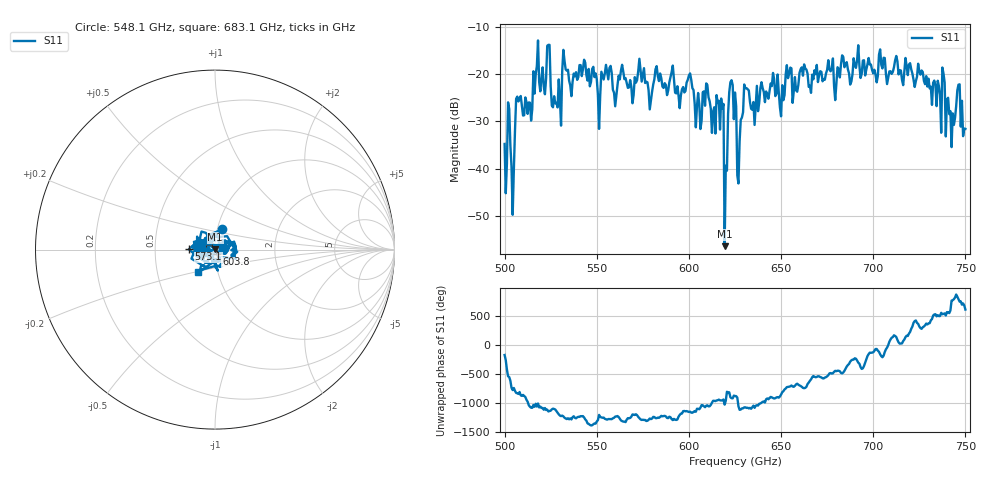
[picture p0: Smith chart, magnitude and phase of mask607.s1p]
!Created with skrf (http://scikit-rf.org).
# GHz S MA R 50.0
!freq magS11 angS11
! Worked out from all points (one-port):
!   401 points, 500 GHz to 750 GHz, reference 50 ohm
!   lowest |S11| = -56.4 dB at 619.4 GHz (marker M1), VSWR 1.00, Z = 50.1 + j0.118 ohm
!   |S11| at or under -10 dB: start of sweep to end of sweep
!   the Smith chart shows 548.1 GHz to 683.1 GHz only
!   S11 on the Smith chart (normalised r, x): 548.1 GHz: 1.05, +0.24; 573.1 GHz: 0.75, +0.00; 603.8 GHz: 1.02, -0.05; 683.1 GHz: 0.80, -0.21
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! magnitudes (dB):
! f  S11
! 500 GHz  -34.8
! 502.5 GHz  -27.4
! 504.4 GHz  -49.8
! 507.5 GHz  -25.8
! 513.8 GHz  -26.0
! 516.9 GHz  -20.0
! 523.8 GHz  -13.8
! 526.9 GHz  -24.7
! 531.2 GHz  -19.4
! 548.1 GHz  -18.5
! 562.5 GHz  -21.1
! 573.1 GHz  -16.7
! 593.8 GHz  -22.6
! 603.8 GHz  -31.3
! 617.5 GHz  -25.2
! 619.4 GHz  -56.4
! 620.6 GHz  -40.4
! 622.5 GHz  -21.7
! 625 GHz  -23.9
! 627.5 GHz  -34.2
! 631.2 GHz  -23.0
! 656.2 GHz  -26.1
! 683.1 GHz  -16.0
! 687.5 GHz  -22.2
! 718.8 GHz  -20.2
! 743.1 GHz  -28.3
! 746.9 GHz  -22.2
! 750 GHz  -31.6
